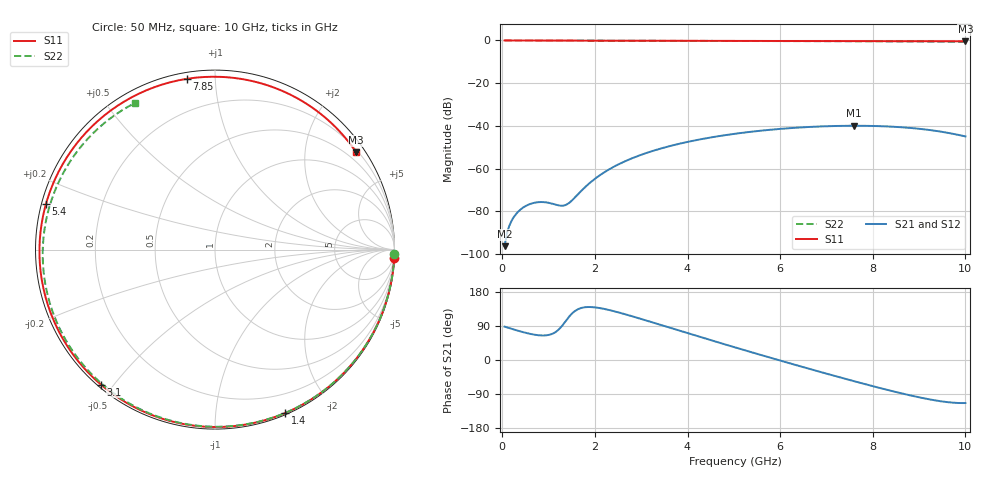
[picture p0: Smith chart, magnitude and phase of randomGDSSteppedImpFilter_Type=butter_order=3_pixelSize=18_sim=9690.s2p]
! freq	dB(S11)	phase(S11)	dB(S12)	phase(S12)
!  dB(S21)	phase(S21)	dB(S22)	phase(S22)
!S-par simulation data
#  GHz  S  DB  R 50
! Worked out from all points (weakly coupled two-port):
!   200 points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, 50 MHz to 10 GHz, reference 50 ohm
!   highest |S21| = -39.95 dB at 7.6 GHz (marker M1); lowest = -96.4 dB at 50 MHz (marker M2)
!   lowest |S11| = -0.4 dB at 10 GHz (marker M3), VSWR 43.72, Z = 12.9 + j160 ohm
!   |S11| at or under -10 dB: nowhere
!   |S22| runs from -0.6 to 0.0 dB; largest |S21 - S12| = 0
!   S11 on the Smith chart (normalised r, x): 50 MHz: 0, -45; 1.4 GHz: 0.01, -1.52; 3.1 GHz: 0.01, -0.46; 5.4 GHz: 0.01, +0.13; 7.85 GHz: 0.03, +0.85; 10 GHz: 0.26, +3.20
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0.05  -0.00 -2.5  -96.36 88.1  -96.36 88.1  -0.00 -1.4
0.35  -0.03 -17.5  -80.05 76.9  -80.05 76.9  -0.01 -10.0
0.55  -0.04 -27.4  -77.05 70.4  -77.05 70.4  -0.02 -15.7
0.75  -0.05 -37.0  -75.81 65.8  -75.81 65.8  -0.03 -21.3
0.95  -0.06 -46.5  -75.86 65.1  -75.86 65.1  -0.03 -26.9
1.25  -0.07 -60.2  -77.38 84.4  -77.38 84.4  -0.04 -35.2
1.4  -0.08 -66.8  -76.73 107.7  -76.73 107.7  -0.05 -39.3
1.75  -0.09 -81.5  -69.50 138.5  -69.50 138.5  -0.06 -48.8
2.05  -0.10 -93.4  -64.00 138.1  -64.00 138.1  -0.07 -56.8
2.35  -0.11 -104.6  -59.85 130.6  -59.85 130.6  -0.08 -64.6
3.1  -0.13 -130.2  -52.79 104.5  -52.79 104.5  -0.11 -83.5
3.4  -0.14 -139.5  -50.76 93.4  -50.76 93.4  -0.12 -90.7
4.2  -0.17 -162.8  -46.63 63.5  -46.63 63.5  -0.15 -109.5
5.05  -0.20 174.2  -43.63 32.4  -43.63 32.4  -0.19 -128.5
5.4  -0.22 165.0  -42.69 19.8  -42.69 19.8  -0.21 -136.1
6.05  -0.24 148.0  -41.34 -3.2  -41.34 -3.2  -0.25 -150.1
6.7  -0.27 130.8  -40.44 -25.8  -40.44 -25.8  -0.30 -164.1
7.6  -0.31 106.4  -39.95 -56.1  -39.95 -56.1  -0.37 176.3
7.85  -0.32 99.3  -39.99 -64.2  -39.99 -64.2  -0.40 170.7
8.35  -0.33 85.0  -40.31 -80.0  -40.31 -80.0  -0.45 159.3
9.15  -0.36 61.0  -41.73 -102.2  -41.73 -102.2  -0.53 140.3
10  -0.40 34.5  -44.94 -113.5  -44.94 -113.5  -0.62 118.6
